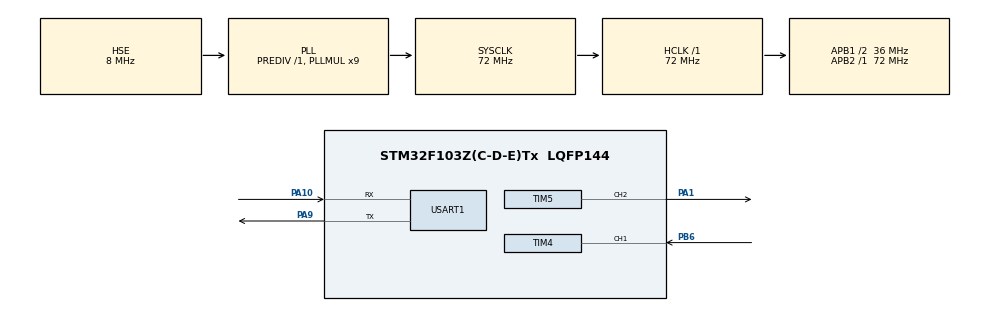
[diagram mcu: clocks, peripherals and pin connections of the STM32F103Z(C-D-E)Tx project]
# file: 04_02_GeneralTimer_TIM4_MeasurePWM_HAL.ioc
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Mcu.Family=STM32F1
Mcu.Name=STM32F103Z(C-D-E)Tx
Mcu.Package=LQFP144
NVIC.PriorityGroup=NVIC_PRIORITYGROUP_4
NVIC.TIM4_IRQn=true\:6\:0\:true\:false\:true\:true\:true\:true
NVIC.USART1_IRQn=true\:5\:0\:true\:false\:true\:true\:true\:true
OSC_IN.Mode=HSE-External-Oscillator
OSC_IN.Signal=RCC_OSC_IN
OSC_OUT.Mode=HSE-External-Oscillator
OSC_OUT.Signal=RCC_OSC_OUT
PA1.Signal=S_TIM5_CH2
PA10.Mode=Asynchronous
PA10.Signal=USART1_RX
PA13.Mode=Serial_Wire
PA13.Signal=SYS_JTMS-SWDIO
PA14.Mode=Serial_Wire
PA14.Signal=SYS_JTCK-SWCLK
PA9.Mode=Asynchronous
PA9.Signal=USART1_TX
PB6.Signal=S_TIM4_CH1
PC14-OSC32_IN.Mode=LSE-External-Oscillator
PC14-OSC32_IN.Signal=RCC_OSC32_IN
PC15-OSC32_OUT.Mode=LSE-External-Oscillator
PC15-OSC32_OUT.Signal=RCC_OSC32_OUT
ProjectManager.HeapSize=0x200
ProjectManager.StackSize=0x400
ProjectManager.TargetToolchain=MDK-ARM V5.32
RCC.AHBFreq_Value=72000000
RCC.APB1CLKDivider=RCC_HCLK_DIV2
RCC.APB1Freq_Value=36000000
RCC.APB1TimFreq_Value=72000000
RCC.APB2Freq_Value=72000000
RCC.APB2TimFreq_Value=72000000
RCC.HCLKFreq_Value=72000000
RCC.PLLMUL=RCC_PLL_MUL9
RCC.PLLSourceVirtual=RCC_PLLSOURCE_HSE
RCC.SYSCLKFreq_VALUE=72000000
RCC.SYSCLKSource=RCC_SYSCLKSOURCE_PLLCLK
RCC.USBFreq_Value=72000000
SH.S_TIM4_CH1.0=TIM4_CH1,Input_Capture1_from_TI1
SH.S_TIM5_CH2.0=TIM5_CH2,PWM Generation2 CH2
TIM4.Channel-Input_Capture1_from_TI1=TIM_CHANNEL_1
TIM4.Prescaler=71
TIM5.Channel-PWM\ Generation2\ CH2=TIM_CHANNEL_2
TIM5.OC2Preload_PWM=DISABLE
TIM5.Period=99
TIM5.Prescaler=719
USART1.VirtualMode=VM_ASYNC
VP_TIM4_VS_ClockSourceINT.Mode=Internal
VP_TIM5_VS_ClockSourceINT.Mode=Internal
board=custom

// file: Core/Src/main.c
/* USER CODE BEGIN Header */
/**
  ******************************************************************************
  * @file           : main.c
  * @brief          : Main program body
  ******************************************************************************
  * @attention
  *
  * Copyright (c) 2025 STMicroelectronics.
  * All rights reserved.
  *
  * This software is licensed under terms that can be found in the LICENSE file
  * in the root directory of this software component.
  * If no LICENSE file comes with this software, it is provided AS-IS.
  *
  ******************************************************************************
  */
/* USER CODE END Header */
#include "main.h"
#include "tim.h"
#include "usart.h"
#include "gpio.h"

/* USER CODE BEGIN PM */

// 函数原型:获取测到的 PWM 周期,单位 ms
double Get_PWM_Period(void);
// 函数原型:获取测到的 PWM 频率,单位 HZ
double Get_PWM_Freq(void);

/* USER CODE END PM */

void SystemClock_Config(void);

/* USER CODE BEGIN 0 */

// 重定义 TIM4_CH1 输入比较弱函数
void HAL_TIM_IC_CaptureCallback(TIM_HandleTypeDef *htim)
{
  // 判断是否是 TIM4
  if (htim == &htim4)
  {
    // 判断是否是 CH1
    if (htim->Channel == HAL_TIM_ACTIVE_CHANNEL_1)
    {
      // 清零计数器
      // __HAL_TIM_SET_COUNTER() 用于直接设置定时器的计数器值（CNT 寄存器）
      __HAL_TIM_SET_COUNTER(&htim4,0);
    }

  }

}

/* USER CODE END 0 */

int main(void)
{

  /* MCU Configuration--------------------------------------------------------*/

  /* Reset of all peripherals, Initializes the Flash interface and the Systick. */
  HAL_Init();

  /* Configure the system clock */
  SystemClock_Config();

  /* Initialize all configured peripherals */
  MX_GPIO_Init();
  MX_USART1_UART_Init();
  MX_TIM5_Init();
  MX_TIM4_Init();
  /* USER CODE BEGIN 2 */

  // 开启 TIM4, 并开启中断
  HAL_TIM_IC_Start_IT(&htim4,TIM_CHANNEL_1);
  // 开启 TIM5 PWM 方波 周期T=1ms
  HAL_TIM_PWM_Start(&htim5,TIM_CHANNEL_2);

  // 设置初始占空比
  // __HAL_TIM_SET_COMPARE() 用于设置定时器比较寄存器（Capture/Compare Register, CCR）的值
  __HAL_TIM_SET_COMPARE(&htim5,TIM_CHANNEL_2,50);

  /* USER CODE END 2 */

  /* Infinite loop */
  while (1)
  {

    /* USER CODE BEGIN 3 */
    HAL_Delay(2000);
    printf("PWM T:%.2lfms,f:%.2lfHZ",Get_PWM_Period(),Get_PWM_Freq());
  }
  /* USER CODE END 3 */
}

void SystemClock_Config(void)
{
  RCC_OscInitTypeDef RCC_OscInitStruct = {0};
  RCC_ClkInitTypeDef RCC_ClkInitStruct = {0};

  /** Initializes the RCC Oscillators according to the specified parameters
  * in the RCC_OscInitTypeDef structure.
  */
  RCC_OscInitStruct.OscillatorType = RCC_OSCILLATORTYPE_HSE;
  RCC_OscInitStruct.HSEState = RCC_HSE_ON;
  RCC_OscInitStruct.HSEPredivValue = RCC_HSE_PREDIV_DIV1;
  RCC_OscInitStruct.HSIState = RCC_HSI_ON;
  RCC_OscInitStruct.PLL.PLLState = RCC_PLL_ON;
  RCC_OscInitStruct.PLL.PLLSource = RCC_PLLSOURCE_HSE;
  RCC_OscInitStruct.PLL.PLLMUL = RCC_PLL_MUL9;
  if (HAL_RCC_OscConfig(&RCC_OscInitStruct) != HAL_OK)
  {
    Error_Handler();
  }

  /** Initializes the CPU, AHB and APB buses clocks
  */
  RCC_ClkInitStruct.ClockType = RCC_CLOCKTYPE_HCLK|RCC_CLOCKTYPE_SYSCLK
                              |RCC_CLOCKTYPE_PCLK1|RCC_CLOCKTYPE_PCLK2;
  RCC_ClkInitStruct.SYSCLKSource = RCC_SYSCLKSOURCE_PLLCLK;
  RCC_ClkInitStruct.AHBCLKDivider = RCC_SYSCLK_DIV1;
  RCC_ClkInitStruct.APB1CLKDivider = RCC_HCLK_DIV2;
  RCC_ClkInitStruct.APB2CLKDivider = RCC_HCLK_DIV1;

  if (HAL_RCC_ClockConfig(&RCC_ClkInitStruct, FLASH_LATENCY_2) != HAL_OK)
  {
    Error_Handler();
  }
}

/* USER CODE BEGIN 4 */

// 函数原型：获取测到的 PWM 周期，单位是 ms
double Get_PWM_Period(void)
{
  // __HAL_TIM_GET_COMPARE() 用于获取定时器比较寄存器（Capture/Compare Register, CCR）的值
  return (__HAL_TIM_GET_COMPARE(&htim4, TIM_CHANNEL_1) + 1) / 1000.0;
}

// 函数原型：获取测到 PWM 频率，单位是 Hz
double Get_PWM_Freq(void)
{
  return 1000.0 / Get_PWM_Period();
}

/* USER CODE END 4 */

void Error_Handler(void)
{
  __disable_irq();
  while (1)
  {
  }
}
